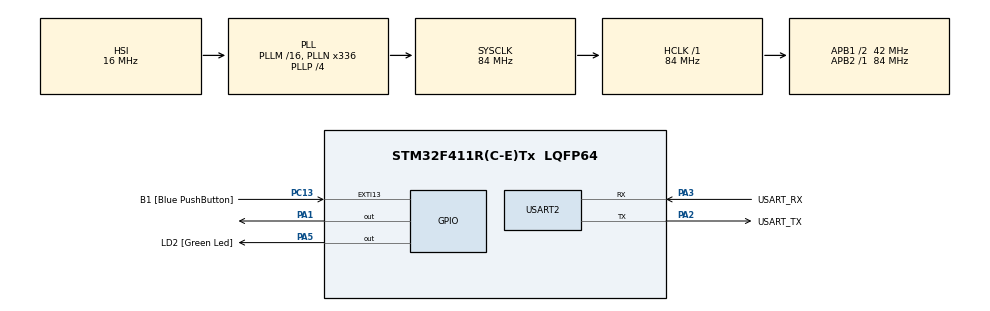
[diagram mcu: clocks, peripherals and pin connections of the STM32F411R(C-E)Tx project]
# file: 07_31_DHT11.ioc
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Mcu.Family=STM32F4
Mcu.Name=STM32F411R(C-E)Tx
Mcu.Package=LQFP64
NVIC.PriorityGroup=NVIC_PRIORITYGROUP_0
NVIC.USART2_IRQn=true\:0\:0\:false\:false\:true\:true\:true\:true
PA1.PinState=GPIO_PIN_RESET
PA1.Signal=GPIO_Output
PA13.GPIO_Label=TMS
PA13.Mode=Serial_Wire
PA13.Signal=SYS_JTMS-SWDIO
PA14.GPIO_Label=TCK
PA14.Mode=Serial_Wire
PA14.Signal=SYS_JTCK-SWCLK
PA2.GPIO_Label=USART_TX
PA2.Mode=Asynchronous
PA2.Signal=USART2_TX
PA3.GPIO_Label=USART_RX
PA3.Mode=Asynchronous
PA3.Signal=USART2_RX
PA5.GPIO_Label=LD2 [Green Led]
PA5.Signal=GPIO_Output
PB3.GPIO_Label=SWO
PB3.Signal=SYS_JTDO-SWO
PC13-ANTI_TAMP.GPIO_Label=B1 [Blue PushButton]
PC13-ANTI_TAMP.GPIO_ModeDefaultEXTI=GPIO_MODE_IT_FALLING
PC13-ANTI_TAMP.Signal=GPXTI13
PC14-OSC32_IN.Mode=LSE-External-Oscillator
PC14-OSC32_IN.Signal=RCC_OSC32_IN
PC15-OSC32_OUT.Mode=LSE-External-Oscillator
PC15-OSC32_OUT.Signal=RCC_OSC32_OUT
PH0\ -\ OSC_IN.Mode=HSE-External-Clock-Source
PH0\ -\ OSC_IN.Signal=RCC_OSC_IN
PH1\ -\ OSC_OUT.Mode=HSE-External-Clock-Source
PH1\ -\ OSC_OUT.Signal=RCC_OSC_OUT
ProjectManager.HeapSize=0x200
ProjectManager.StackSize=0x400
ProjectManager.TargetToolchain=STM32CubeIDE
RCC.48MHZClocksFreq_Value=84000000
RCC.AHBFreq_Value=84000000
RCC.APB1CLKDivider=RCC_HCLK_DIV2
RCC.APB1Freq_Value=42000000
RCC.APB1TimFreq_Value=84000000
RCC.APB2Freq_Value=84000000
RCC.APB2TimFreq_Value=84000000
RCC.CortexFreq_Value=84000000
RCC.FLatency-AdvancedSettings=FLASH_LATENCY_2
RCC.HCLKFreq_Value=84000000
RCC.HSE_VALUE=8000000
RCC.HSI_VALUE=16000000
RCC.PLLN=336
RCC.PLLP=RCC_PLLP_DIV4
RCC.SYSCLKFreq_VALUE=84000000
RCC.SYSCLKSource=RCC_SYSCLKSOURCE_PLLCLK
RCC.VCOOutputFreq_Value=336000000
USART2.VirtualMode=VM_ASYNC
board=NUCLEO-F411RE

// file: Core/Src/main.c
/* USER CODE BEGIN Header */
/**
  ******************************************************************************
  * @file           : main.c
  * @brief          : Main program body
  ******************************************************************************
  * @attention
  *
  * Copyright (c) 2024 STMicroelectronics.
  * All rights reserved.
  *
  * This software is licensed under terms that can be found in the LICENSE file
  * in the root directory of this software component.
  * If no LICENSE file comes with this software, it is provided AS-IS.
  *
  ******************************************************************************
  */
/* USER CODE END Header */
#include "main.h"

/* USER CODE BEGIN Includes */
#include "DHT.h"
#include <stdio.h>

/* USER CODE END Includes */

UART_HandleTypeDef huart2;

void SystemClock_Config(void);
static void MX_GPIO_Init(void);
static void MX_USART2_UART_Init(void);

/* USER CODE BEGIN 0 */
int __io_putchar(int ch)
{
	HAL_UART_Transmit(&huart2, &ch, 1, 5);
}

DHT_DataTypedef DHT11_Data;
float Temperature, Humidity;
int i=0;

/* USER CODE END 0 */

int main(void)
{

  /* MCU Configuration--------------------------------------------------------*/

  /* Reset of all peripherals, Initializes the Flash interface and the Systick. */
  HAL_Init();

  /* Configure the system clock */
  SystemClock_Config();

  /* Initialize all configured peripherals */
  MX_GPIO_Init();
  MX_USART2_UART_Init();
  /* USER CODE BEGIN 2 */
  printf("\033[H\033[J");	// Screen Clear
  printf("DHT11 Test Start..\r\n");
  printf("---------------------------------\r\n");

  /* USER CODE END 2 */

  /* Infinite loop */
  while (1)
  {

    /* USER CODE BEGIN 3 */
	  DHT_GetData(&DHT11_Data);
	  Temperature = DHT11_Data.Temperature;
	  Humidity = DHT11_Data.Humidity;

	  i++;
	  printf("%d회 측정!\r\n",i);
	  printf("----- 온도 : %0.2f'C ----- \r\n", (float)Temperature);
	  printf("----- 습도 : %0.2f%%  ----- \r\n\r\n", (float)Humidity);
	  HAL_Delay(3000);

	  if(i >= 30)
	  {
		  printf("%d회 측정 초과로 횟수 초기화. \r\n", i);
		  i = 0;
	  }
  }
  /* USER CODE END 3 */
}

void SystemClock_Config(void)
{
  RCC_OscInitTypeDef RCC_OscInitStruct = {0};
  RCC_ClkInitTypeDef RCC_ClkInitStruct = {0};

  /** Configure the main internal regulator output voltage
  */
  __HAL_RCC_PWR_CLK_ENABLE();
  __HAL_PWR_VOLTAGESCALING_CONFIG(PWR_REGULATOR_VOLTAGE_SCALE1);

  /** Initializes the RCC Oscillators according to the specified parameters
  * in the RCC_OscInitTypeDef structure.
  */
  RCC_OscInitStruct.OscillatorType = RCC_OSCILLATORTYPE_HSI;
  RCC_OscInitStruct.HSIState = RCC_HSI_ON;
  RCC_OscInitStruct.HSICalibrationValue = RCC_HSICALIBRATION_DEFAULT;
  RCC_OscInitStruct.PLL.PLLState = RCC_PLL_ON;
  RCC_OscInitStruct.PLL.PLLSource = RCC_PLLSOURCE_HSI;
  RCC_OscInitStruct.PLL.PLLM = 16;
  RCC_OscInitStruct.PLL.PLLN = 336;
  RCC_OscInitStruct.PLL.PLLP = RCC_PLLP_DIV4;
  RCC_OscInitStruct.PLL.PLLQ = 4;
  if (HAL_RCC_OscConfig(&RCC_OscInitStruct) != HAL_OK)
  {
    Error_Handler();
  }

  /** Initializes the CPU, AHB and APB buses clocks
  */
  RCC_ClkInitStruct.ClockType = RCC_CLOCKTYPE_HCLK|RCC_CLOCKTYPE_SYSCLK
                              |RCC_CLOCKTYPE_PCLK1|RCC_CLOCKTYPE_PCLK2;
  RCC_ClkInitStruct.SYSCLKSource = RCC_SYSCLKSOURCE_PLLCLK;
  RCC_ClkInitStruct.AHBCLKDivider = RCC_SYSCLK_DIV1;
  RCC_ClkInitStruct.APB1CLKDivider = RCC_HCLK_DIV2;
  RCC_ClkInitStruct.APB2CLKDivider = RCC_HCLK_DIV1;

  if (HAL_RCC_ClockConfig(&RCC_ClkInitStruct, FLASH_LATENCY_2) != HAL_OK)
  {
    Error_Handler();
  }
}

static void MX_USART2_UART_Init(void)
{

  huart2.Instance = USART2;
  huart2.Init.BaudRate = 115200;
  huart2.Init.WordLength = UART_WORDLENGTH_8B;
  huart2.Init.StopBits = UART_STOPBITS_1;
  huart2.Init.Parity = UART_PARITY_NONE;
  huart2.Init.Mode = UART_MODE_TX_RX;
  huart2.Init.HwFlowCtl = UART_HWCONTROL_NONE;
  huart2.Init.OverSampling = UART_OVERSAMPLING_16;
  if (HAL_UART_Init(&huart2) != HAL_OK)
  {
    Error_Handler();
  }

}

static void MX_GPIO_Init(void)
{
  GPIO_InitTypeDef GPIO_InitStruct = {0};

  /* GPIO Ports Clock Enable */
  __HAL_RCC_GPIOC_CLK_ENABLE();
  __HAL_RCC_GPIOH_CLK_ENABLE();
  __HAL_RCC_GPIOA_CLK_ENABLE();
  __HAL_RCC_GPIOB_CLK_ENABLE();

  /*Configure GPIO pin Output Level */
  HAL_GPIO_WritePin(GPIOA, GPIO_PIN_1|LD2_Pin, GPIO_PIN_RESET);

  /*Configure GPIO pin : B1_Pin */
  GPIO_InitStruct.Pin = B1_Pin;
  GPIO_InitStruct.Mode = GPIO_MODE_IT_FALLING;
  GPIO_InitStruct.Pull = GPIO_NOPULL;
  HAL_GPIO_Init(B1_GPIO_Port, &GPIO_InitStruct);

  /*Configure GPIO pins : PA1 LD2_Pin */
  GPIO_InitStruct.Pin = GPIO_PIN_1|LD2_Pin;
  GPIO_InitStruct.Mode = GPIO_MODE_OUTPUT_PP;
  GPIO_InitStruct.Pull = GPIO_NOPULL;
  GPIO_InitStruct.Speed = GPIO_SPEED_FREQ_LOW;
  HAL_GPIO_Init(GPIOA, &GPIO_InitStruct);

}

void Error_Handler(void)
{
  __disable_irq();
  while (1)
  {
  }
}
